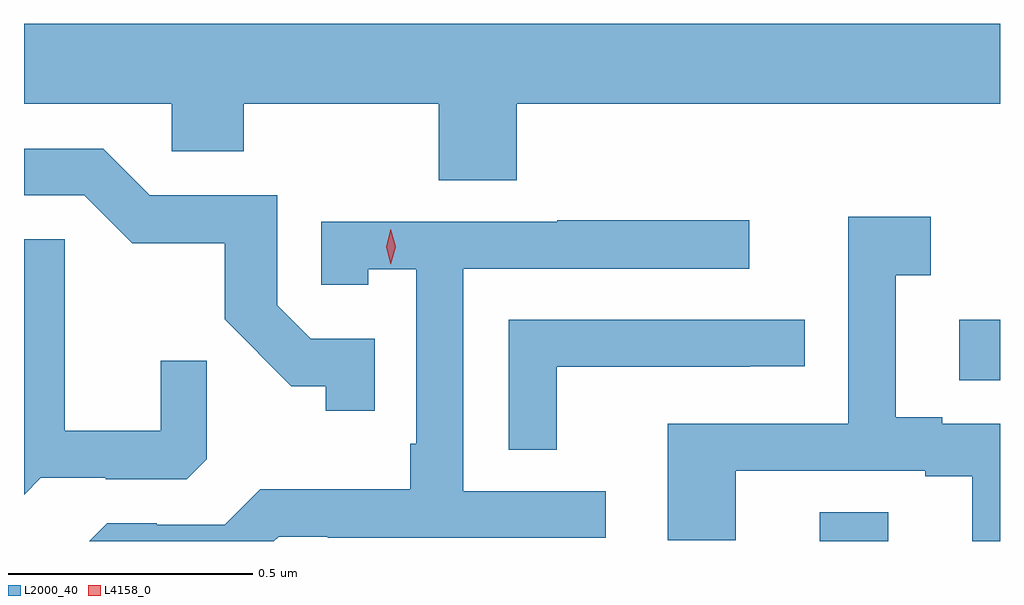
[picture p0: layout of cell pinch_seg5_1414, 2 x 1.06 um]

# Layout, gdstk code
import gdstk
lib = gdstk.Library(unit=1e-6, precision=1e-09)
def R(c, l, rs):  # rectangles x0, y0, x1, y1
    for r in rs: c.add(gdstk.rectangle(r[:2], r[2:], *l))
def P(c, l, *ps):  # polygons
    for p in ps: c.add(gdstk.Polygon(p, *l))
L2000_40 = (2000, 40)
L4158_0 = (4158, 0)

pinch_seg5_1414 = lib.new_cell('pinch_seg5_1414')
R(pinch_seg5_1414, L2000_40, [(217.727,895.823,217.867,895.883), (218.013,896.153,218.096,896.277)])
P(pinch_seg5_1414, L2000_40, [(217.106,896.72),(218.096,896.72),(218.096,896.884),(216.096,896.884),(216.096,896.72),(216.399,896.72),(216.399,896.622),(216.546,896.622),(216.546,896.72),(216.946,896.72),(216.946,896.563),(217.106,896.563)],
  [(216.815,896.238),(216.684,896.238),(216.615,896.307),(216.615,896.532),(216.354,896.532),(216.258,896.628),(216.096,896.628),(216.096,896.532),(216.219,896.532),(216.318,896.434),(216.507,896.434),(216.507,896.278),(216.644,896.141),(216.714,896.141),(216.714,896.091),(216.815,896.091)],
  [(218.096,896.064),(217.978,896.064),(217.978,896.077),(217.882,896.077),(217.882,896.368),(217.954,896.368),(217.954,896.488),(217.785,896.488),(217.785,896.064),(217.415,896.064),(217.415,895.825),(217.555,895.825),(217.555,895.968),(217.943,895.968),(217.943,895.956),(218.039,895.956),(218.039,895.823),(218.096,895.823)],
  [(216.618,895.833),(216.718,895.833),(216.718,895.83),(217.288,895.83),(217.288,895.926),(216.996,895.926),(216.996,896.382),(217.582,896.382),(217.582,896.481),(217.189,896.481),(217.189,896.478),(216.705,896.478),(216.705,896.349),(216.801,896.349),(216.801,896.381),(216.9,896.381),(216.9,896.023),(216.888,896.023),(216.888,895.93),(216.58,895.93),(216.507,895.857),(216.368,895.857),(216.368,895.86),(216.267,895.86),(216.23,895.823),(216.608,895.823)],
  [(216.13,895.953),(216.264,895.953),(216.264,895.95),(216.429,895.95),(216.47,895.991),(216.47,896.193),(216.376,896.193),(216.376,896.05),(216.179,896.05),(216.179,896.442),(216.096,896.442),(216.096,895.919)],
  [(217.188,896.181),(217.583,896.181),(217.583,896.182),(217.696,896.182),(217.696,896.277),(217.089,896.277),(217.089,896.011),(217.188,896.011)])
P(pinch_seg5_1414, L4158_0, [(216.848,896.391),(216.848,896.391),(216.838,896.427),(216.848,896.463),(216.848,896.463),(216.848,896.463),(216.858,896.427),(216.848,896.391)])

lib.write_gds('pinch_seg5_1414.gds')
